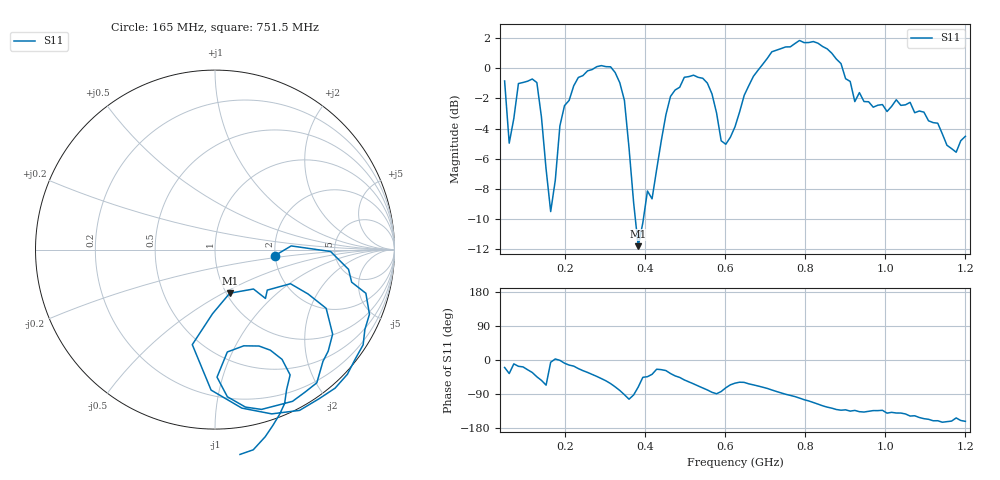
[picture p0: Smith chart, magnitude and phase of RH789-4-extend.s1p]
# HZ S RI R 50
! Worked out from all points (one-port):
!   101 points, 50 MHz to 1.2 GHz, reference 50 ohm
!   lowest |S11| = -11.8 dB at 383.5 MHz (marker M1), VSWR 1.69, Z = 51.8 - j26.9 ohm
!   |S11| at or under -10 dB: 376.3 MHz to 396.4 MHz (20.15 MHz wide, 5.21 % of centre)
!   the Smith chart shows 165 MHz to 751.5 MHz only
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5e7  0.855 -0.3063
6.15e7  0.4582 -0.3293
7.3e7  0.6707 -0.121
8.45e7  0.8533 -0.2544
1.19e8  0.7738 -0.5013
1.305e8  0.6417 -0.6269
1.535e8  0.186 -0.4239
1.65e8  0.3325 -0.0342
1.995e8  0.744 -0.1101
2.34e8  0.8607 -0.3598
2.8e8  0.7374 -0.6949
3.375e8  0.1495 -0.8832
3.605e8  -0.1265 -0.5295
3.835e8  0.0821 -0.243
4.295e8  0.4205 -0.1901
4.525e8  0.6193 -0.3273
4.87e8  0.6015 -0.6228
5.445e8  0.259 -0.8903
5.79e8  0.0112 -0.7107
6.25e8  0.3084 -0.5604
6.825e8  0.3597 -0.9182
7.745e8  -0.1372 -1.201
8.55e8  -0.6552 -0.9588
9.125e8  -0.6387 -0.6409
9.7e8  -0.5115 -0.539
1.062e9  -0.6533 -0.4099
1.1425e9  -0.5826 -0.165
1.2e9  -0.5651 -0.1851
